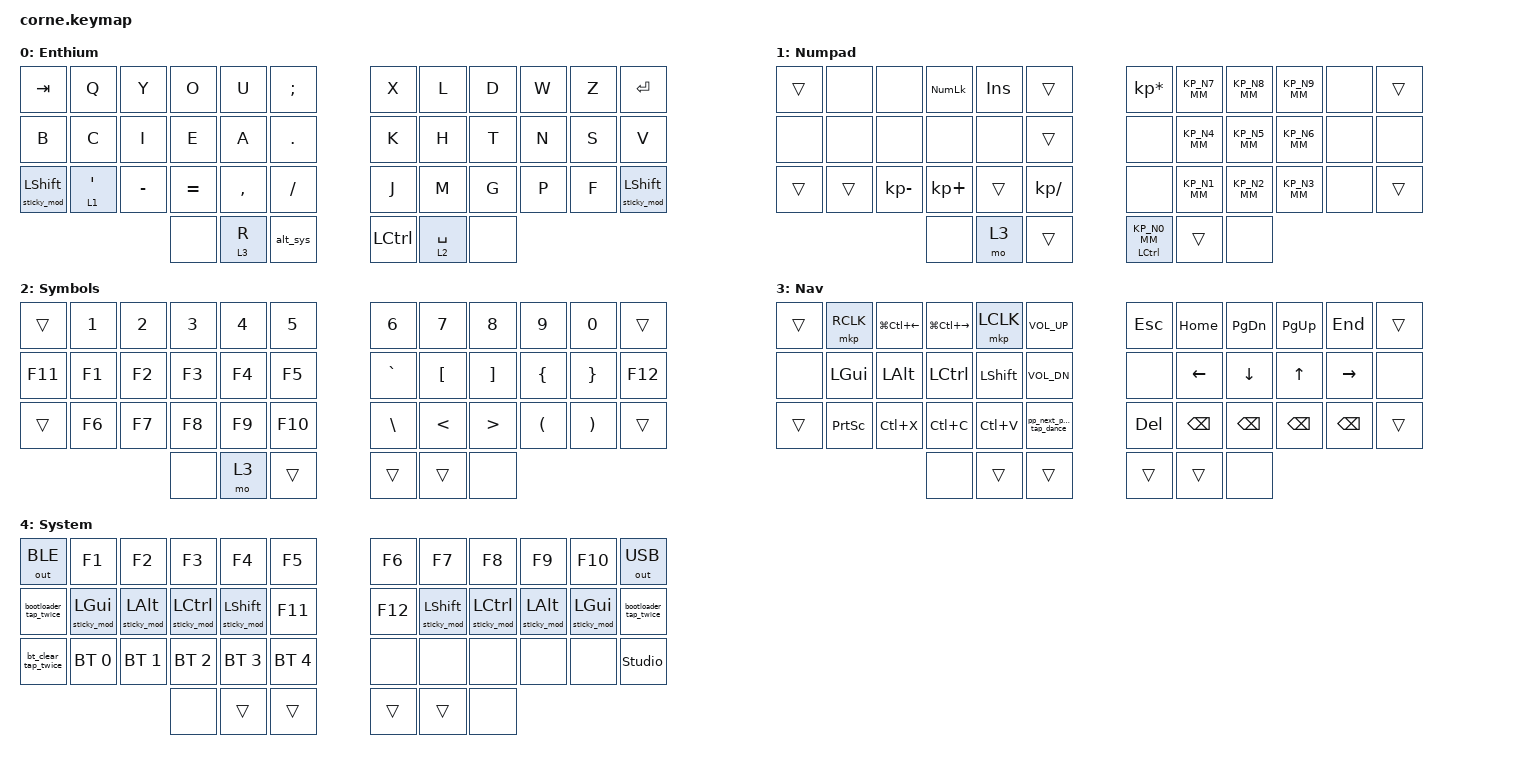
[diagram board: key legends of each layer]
#include <input/processors.dtsi>
#include <behaviors.dtsi>
#include <dt-bindings/zmk/bt.h>
#include <dt-bindings/zmk/keys.h>
#include <dt-bindings/zmk/outputs.h>
#include <dt-bindings/zmk/pointing.h>

#define DEF 0
#define NAV 1
#define SYM 2
#define ADJ 3
#define EXTRA 4
#define ZMK_POINTING_DEFAULT_SCRL_VAL 20    // default: 10

&mmv {
    acceleration-exponent = <0>;
    time-to-max-speed-ms = <0>;
    trigger-period-ms = <8>;
    delay-ms = <0>;
};

&msc {
    acceleration-exponent = <0>;
    time-to-max-speed-ms = <300>;
    trigger-period-ms = <8>;
    delay-ms = <0>;
};

&mmv_input_listener {
    warp {
        layers = <5>;
        input-processors = <&zip_xy_scaler 2 1>;
    };

    precision {
        layers = <6>;
        input-processors = <&zip_xy_scaler 1 3>;
    };
};

/ {
    behaviors {
        hm: homerow_mods {
            compatible = "zmk,behavior-hold-tap";
            label = "HOMEROW_MODS";
            #binding-cells = <2>;
            tapping-term-ms = <200>;
            quick_tap_ms = <0>;
            flavor = "tap-preferred";
            bindings = <&kp>, <&kp>;

            quick-tap-ms = <180>;
            global-quick-tap;
        };

        para: para {
            compatible = "zmk,behavior-tap-dance";
            label = "PARA";
            #binding-cells = <0>;
            bindings = <&kp LEFT_PARENTHESIS>, <&kp RIGHT_PARENTHESIS>;
        };

        caps: caps {
            compatible = "zmk,behavior-caps-word";
            label = "CAPS";
            #binding-cells = <0>;
            continue-list = <MINUS BACKSPACE UNDERSCORE PERIOD>;
        };

        paraless: paraless {
            compatible = "zmk,behavior-mod-morph";
            label = "PARALESS";
            bindings = <&kp LEFT_PARENTHESIS>, <&kp LESS_THAN>;

            #binding-cells = <0>;
            mods = <(MOD_LSFT)>;
        };

        paragreat: paragreat {
            compatible = "zmk,behavior-mod-morph";
            label = "PARAGREAT";
            bindings = <&kp RIGHT_PARENTHESIS>, <&kp GREATER_THAN>;

            #binding-cells = <0>;
            mods = <(MOD_LSFT)>;
        };

        sticky_mod: sticky_mod {
            compatible = "zmk,behavior-sticky-key";
            label = "STICKY_MOD";
            bindings = <&kp>;
            #binding-cells = <1>;
            release-after-ms = <1000>;
            quick-release;
            ignore-modifiers;
        };

        bootloader_tap_twice: bootloader_tap_twice {
            compatible = "zmk,behavior-tap-dance";
            label = "BOOTLOADER_TAP_TWICE";
            #binding-cells = <0>;
            bindings = <&none>, <&bootloader>;

            tapping-term-ms = <300>;
        };

        bt_clear_tap_twice: bt_clear_tap_twice {
            compatible = "zmk,behavior-tap-dance";
            label = "BT_CLEAR_TAP_TWICE";
            #binding-cells = <0>;
            bindings = <&none>, <&bt BT_CLR>;

            tapping-term-ms = <300>;
        };

        pp_next_prev_tap_dance: pp_next_prev_tap_dance {
            compatible = "zmk,behavior-tap-dance";
            label = "PP_NEXT_PREV_TAP_DANCE";
            #binding-cells = <0>;
            bindings = <&kp C_PLAY_PAUSE>, <&kp C_NEXT>, <&kp C_PREV>;

            tapping-term-ms = <300>;
        };

        Adj_Hold_Tap: Adj_Hold_Tap {
            compatible = "zmk,behavior-hold-tap";
            label = "ADJ_HOLD_TAP";
            bindings = <&mo>, <&kp>;

            #binding-cells = <2>;
            hold-trigger-key-positions = <31 32 33 34 25 26 27 28 29 17 5 39>;
            tapping-term-ms = <300>;
            flavor = "balanced";
        };

        Hold_Mo_Tap_Kp_HoldPref: Hold_Mo_Tap_Kp_HoldPref {
            compatible = "zmk,behavior-hold-tap";
            label = "HOLD_MO_TAP_KP_HOLDPREF";
            bindings = <&mo>, <&kp>;

            #binding-cells = <2>;
            tapping-term-ms = <300>;
            flavor = "hold-preferred";
        };

        Hold_Kp_Tap_Kp_Bal: Hold_Kp_Tap_Kp_Bal {
            compatible = "zmk,behavior-hold-tap";
            label = "HOLD_KP_TAP_KP_BAL";
            bindings = <&kp>, <&kp>;

            #binding-cells = <2>;
            tapping-term-ms = <300>;
            flavor = "balanced";
        };

        Hold_Mo_Tap_Kp_Bal: Hold_Mo_Tap_Kp_Bal {
            compatible = "zmk,behavior-hold-tap";
            label = "HOLD_MO_TAP_KP_BAL";
            bindings = <&mo>, <&kp>;

            #binding-cells = <2>;
            tapping-term-ms = <300>;
            flavor = "balanced";
        };

        Hold_Mo_Tap_Repeat_Bal: Hold_Mo_Tap_Repeat_Bal {
            compatible = "zmk,behavior-hold-tap";
            label = "HOLD_MO_TAP_REPEAT_BAL";
            bindings = <&mo>, <&key_repeat>;

            #binding-cells = <2>;
            tapping-term-ms = <300>;
            flavor = "balanced";
        };

        KP_N0_MM: KP_N0_MM {
            compatible = "zmk,behavior-mod-morph";
            label = "KP_N0_MM";
            bindings = <&kp KP_N0>, <&kp KP_N0>;

            #binding-cells = <0>;
            mods = <(MOD_LSFT|MOD_RSFT)>;
        };

        KP_N1_MM: KP_N1_MM {
            compatible = "zmk,behavior-mod-morph";
            label = "KP_N1_MM";
            bindings = <&kp KP_N1>, <&kp KP_N1>;

            #binding-cells = <0>;
            mods = <(MOD_LSFT|MOD_RSFT)>;
        };

        KP_N2_MM: KP_N2_MM {
            compatible = "zmk,behavior-mod-morph";
            label = "KP_N2_MM";
            bindings = <&kp KP_N2>, <&kp KP_N2>;

            #binding-cells = <0>;
            mods = <(MOD_LSFT|MOD_RSFT)>;
        };

        KP_N3_MM: KP_N3_MM {
            compatible = "zmk,behavior-mod-morph";
            label = "KP_N3_MM";
            bindings = <&kp KP_N3>, <&kp KP_N3>;

            #binding-cells = <0>;
            mods = <(MOD_LSFT|MOD_RSFT)>;
        };

        KP_N4_MM: KP_N4_MM {
            compatible = "zmk,behavior-mod-morph";
            label = "KP_N4_MM";
            bindings = <&kp KP_N4>, <&kp KP_N4>;

            #binding-cells = <0>;
            mods = <(MOD_LSFT|MOD_RSFT)>;
        };

        KP_N5_MM: KP_N5_MM {
            compatible = "zmk,behavior-mod-morph";
            label = "KP_N5_MM";
            bindings = <&kp KP_N5>, <&kp KP_N5>;

            #binding-cells = <0>;
            mods = <(MOD_LSFT|MOD_RSFT)>;
        };

        KP_N6_MM: KP_N6_MM {
            compatible = "zmk,behavior-mod-morph";
            label = "KP_N6_MM";
            bindings = <&kp KP_N6>, <&kp KP_N6>;

            #binding-cells = <0>;
            mods = <(MOD_LSFT|MOD_RSFT)>;
        };

        KP_N7_MM: KP_N7_MM {
            compatible = "zmk,behavior-mod-morph";
            label = "KP_N7_MM";
            bindings = <&kp KP_N7>, <&kp KP_N7>;

            #binding-cells = <0>;
            mods = <(MOD_LSFT|MOD_RSFT)>;
        };

        KP_N8_MM: KP_N8_MM {
            compatible = "zmk,behavior-mod-morph";
            label = "KP_N8_MM";
            bindings = <&kp KP_N8>, <&kp KP_N8>;

            #binding-cells = <0>;
            mods = <(MOD_LSFT|MOD_RSFT)>;
        };

        KP_N9_MM: KP_N9_MM {
            compatible = "zmk,behavior-mod-morph";
            label = "KP_N9_MM";
            bindings = <&kp KP_N9>, <&kp KP_N9>;

            #binding-cells = <0>;
            mods = <(MOD_LSFT|MOD_RSFT)>;
        };

        Hold_Kp_Tap_Kp_HoldPref: Hold_Kp_Tap_Kp_HoldPref {
            compatible = "zmk,behavior-hold-tap";
            label = "HOLD_KP_TAP_KP_HOLDPREF";
            bindings = <&kp>, <&kp>;

            #binding-cells = <2>;
            tapping-term-ms = <300>;
            flavor = "hold-preferred";
        };

        Hold_Kp_Tap_Capsword_HoldPref: Hold_Kp_Tap_Capsword_HoldPref {
            compatible = "zmk,behavior-hold-tap";
            label = "HOLD_KP_TAP_CAPSWORD_HOLDPREF";
            bindings = <&kp>, <&caps_word>;

            #binding-cells = <2>;
            tapping-term-ms = <300>;
            flavor = "hold-preferred";
        };

        Hold_Mo_Tap_StickyMod_Bal: Hold_Mo_Tap_StickyMod_Bal {
            compatible = "zmk,behavior-hold-tap";
            label = "HOLD_MO_TAP_STICKYMOD_BAL";
            bindings = <&mo>, <&sticky_mod>;

            #binding-cells = <2>;
            tapping-term-ms = <300>;
            flavor = "balanced";
        };

        mm7: mm7 {
            compatible = "zmk,behavior-mod-morph";
            label = "MM7";
            bindings = <&kp N7>, <&kp N7>;

            #binding-cells = <0>;
            mods = <(MOD_LSFT|MOD_RSFT)>;
        };

        mm8: mm8 {
            compatible = "zmk,behavior-mod-morph";
            label = "MM8";
            bindings = <&kp N8>, <&kp N8>;

            #binding-cells = <0>;
            mods = <(MOD_LSFT|MOD_RSFT)>;
        };

        mm9: mm9 {
            compatible = "zmk,behavior-mod-morph";
            label = "MM9";
            bindings = <&kp N9>, <&kp N9>;

            #binding-cells = <0>;
            mods = <(MOD_LSFT|MOD_RSFT)>;
        };

        mm0: mm0 {
            compatible = "zmk,behavior-mod-morph";
            label = "MM0";
            bindings = <&kp N0>, <&kp N0>;

            #binding-cells = <0>;
            mods = <(MOD_LSFT|MOD_RSFT)>;
        };

        mm1: mm1 {
            compatible = "zmk,behavior-mod-morph";
            label = "MM1";
            bindings = <&kp N1>, <&kp N1>;

            #binding-cells = <0>;
            mods = <(MOD_LSFT|MOD_RSFT)>;
        };

        mm2: mm2 {
            compatible = "zmk,behavior-mod-morph";
            label = "MM2";
            bindings = <&kp N2>, <&kp N2>;

            #binding-cells = <0>;
            mods = <(MOD_LSFT|MOD_RSFT)>;
        };

        mm3: mm3 {
            compatible = "zmk,behavior-mod-morph";
            label = "MM3";
            bindings = <&kp N3>, <&kp N3>;

            #binding-cells = <0>;
            mods = <(MOD_LSFT|MOD_RSFT)>;
        };

        mm4: mm4 {
            compatible = "zmk,behavior-mod-morph";
            label = "MM4";
            bindings = <&kp N4>, <&kp N4>;

            #binding-cells = <0>;
            mods = <(MOD_LSFT|MOD_RSFT)>;
        };

        mm5: mm5 {
            compatible = "zmk,behavior-mod-morph";
            label = "MM5";
            bindings = <&kp N5>, <&kp N5>;

            #binding-cells = <0>;
            mods = <(MOD_LSFT|MOD_RSFT)>;
        };

        mm6: mm6 {
            compatible = "zmk,behavior-mod-morph";
            label = "MM6";
            bindings = <&kp N6>, <&kp N6>;

            #binding-cells = <0>;
            mods = <(MOD_LSFT|MOD_RSFT)>;
        };

        mmdot: mmdot {
            compatible = "zmk,behavior-mod-morph";
            label = "MMDOT";
            bindings = <&kp PERIOD>, <&kp PERIOD>;

            #binding-cells = <0>;
            mods = <(MOD_LSFT|MOD_RSFT)>;
        };

        ctrl_numpad: ctrl_numpad {
            compatible = "zmk,behavior-tap-dance";
            label = "CTRL_NUMPAD";
            #binding-cells = <0>;
            bindings = <&kp LEFT_CONTROL>, <&mo 1>;

            tapping-term-ms = <300>;
        };

        alt_sys: alt_sys {
            compatible = "zmk,behavior-tap-dance";
            label = "ALT_SYS";
            #binding-cells = <0>;
            bindings = <&kp LEFT_ALT>, <&mo 4>;

            tapping-term-ms = <300>;
        };

        Hold_kp_tap_to_bal: Hold_kp_tap_to_bal {
            compatible = "zmk,behavior-hold-tap";
            label = "HOLD_KP_TAP_TO_BAL";
            bindings = <&kp>, <&to>;

            #binding-cells = <2>;
            tapping-term-ms = <300>;
            flavor = "balanced";
        };

        KP_N0_Hold_Kp: KP_N0_Hold_Kp {
            compatible = "zmk,behavior-hold-tap";
            label = "KP_N0_HOLD_KP";
            bindings = <&kp>, <&KP_N0_MM>;

            #binding-cells = <2>;
            tapping-term-ms = <300>;
            flavor = "balanced";
        };
    };

    macros {
        browsertab: browsertab {
            compatible = "zmk,behavior-macro";
            #binding-cells = <0>;
            bindings =
                <&macro_press>,
                <&kp LCTRL>,
                <&macro_tap>,
                <&kp TAB>,
                <&macro_release>,
                <&kp LCTRL>;
        };
    };

    combos {
        compatible = "zmk,combos";

        caps {
            bindings = <&kp CAPSLOCK>;
            key-positions = <12 23>;
        };
    };

    //

    keymap {
        compatible = "zmk,keymap";

        DEF {
            display-name = "Enthium";

            // -----------------------------------------------------------------------------------------
            // |  Q  |  W  |  E  |  R  |  T  |   |  Y  |  U   |  I  |  O  |  P  |
            // |  A  |  S  |  D  |  F  |  G  |   |  H  |  J   |  K  |  L  |  ;  |
            // |  Z  |  X  |  C  |  V  |  B  |   |  N  |  M   |  ,  |  .  |  /  |
            // | GUI | CTRL | SHFT | LWR | SPC |   | ENT | RSE  | BKSP | ALT | ESC |

            bindings = <
&kp TAB                 &kp Q                      &kp Y      &kp O      &kp U                    &kp SEMI    &kp X             &kp L                        &kp D  &kp W  &kp Z  &kp RET
&kp B                   &kp C                      &kp I      &kp E      &kp A                    &kp DOT     &kp K             &kp H                        &kp T  &kp N  &kp S  &kp V
&sticky_mod LEFT_SHIFT  &Hold_Mo_Tap_Kp_Bal 1 SQT  &kp MINUS  &kp EQUAL  &kp COMMA                &kp FSLH    &kp J             &kp M                        &kp G  &kp P  &kp F  &sticky_mod LEFT_SHIFT
                                                              &none      &Hold_Mo_Tap_Kp_Bal 3 R  &alt_sys    &kp LEFT_CONTROL  &Hold_Mo_Tap_Kp_Bal 2 SPACE  &none
            >;
        };

        NUM {
            display-name = "Numpad";
            bindings = <
&trans  &none   &none         &kp KP_NUMLOCK  &kp INS  &trans           &kp KP_ASTERISK                &KP_N7_MM  &KP_N8_MM  &KP_N9_MM  &none  &trans
&none   &none   &none         &none           &none    &trans           &none                          &KP_N4_MM  &KP_N5_MM  &KP_N6_MM  &none  &none
&trans  &trans  &kp KP_MINUS  &kp KP_PLUS     &trans   &kp KP_DIVIDE    &none                          &KP_N1_MM  &KP_N2_MM  &KP_N3_MM  &none  &trans
                              &none           &mo 3    &trans           &KP_N0_Hold_Kp LEFT_CONTROL 0  &trans     &none
            >;
        };

        SYM {
            display-name = "Symbols";

            // -----------------------------------------------------------------------------------------
            // |  TAB |  !  |  @  |  #  |  $  |  %  |   |  ^  |  &  |  *  |  (  |  )  | BKSP |
            // | CTRL |     |     |     |     |     |   |  -  |  =  |  [  |  ]  |  \  |  `   |
            // | SHFT |     |     |     |     |     |   |  _  |  +  |  {  |  }  | "|" |  ~   |
            //                    | GUI |     | SPC |   | ENT |     | ALT |

            bindings = <
&trans   &kp N1  &kp N2  &kp N3  &kp N4  &kp N5     &kp N6         &kp N7         &kp N8            &kp N9                &kp N0                 &trans
&kp F11  &kp F1  &kp F2  &kp F3  &kp F4  &kp F5     &kp GRAVE      &kp LBKT       &kp RBKT          &kp LEFT_BRACE        &kp RIGHT_BRACE        &kp F12
&trans   &kp F6  &kp F7  &kp F8  &kp F9  &kp F10    &kp BACKSLASH  &kp LESS_THAN  &kp GREATER_THAN  &kp LEFT_PARENTHESIS  &kp RIGHT_PARENTHESIS  &trans
                         &none   &mo 3   &trans     &trans         &trans         &none
            >;
        };

        NAV {
            display-name = "Nav";

            // -----------------------------------------------------------------------------------------
            // |  TAB |  1  |  2  |  3  |  4  |  5  |   |  6  |  7  |  8  |  9  |  0  | BKSP |
            // | BTCLR| BT1 | BT2 | BT3 | BT4 | BT5 |   | LFT | DWN |  UP | RGT |     |      |
            // | SHFT |     |     |     |     |     |   |     |     |     |     |     |      |
            // | GUI | CTRL | SHFT | LWR | SPC |   | ENT | RSE  | BKSP | ALT | ESC |

            bindings = <
&trans  &mkp RCLK        &kp LG(LC(LEFT))  &kp LG(LC(RIGHT))  &mkp LCLK       &kp C_VOL_UP               &kp ESCAPE  &kp HOME  &kp PG_DN  &kp PG_UP  &kp END    &trans
&none   &kp LGUI         &kp LALT          &kp LEFT_CONTROL   &kp LEFT_SHIFT  &kp C_VOL_DN               &none       &kp LEFT  &kp DOWN   &kp UP     &kp RIGHT  &none
&trans  &kp PRINTSCREEN  &kp LC(X)         &kp LC(C)          &kp LC(V)       &pp_next_prev_tap_dance    &kp DEL     &kp BSPC  &kp BSPC   &kp BSPC   &kp BSPC   &trans
                                           &none              &trans          &trans                     &trans      &trans    &none
            >;
        };

        SYS {
            display-name = "System";
            bindings = <
&out OUT_BLE           &kp F1            &kp F2            &kp F3                    &kp F4                  &kp F5          &kp F6   &kp F7                  &kp F8                    &kp F9            &kp F10           &out OUT_USB
&bootloader_tap_twice  &sticky_mod LGUI  &sticky_mod LALT  &sticky_mod LEFT_CONTROL  &sticky_mod LEFT_SHIFT  &kp F11         &kp F12  &sticky_mod LEFT_SHIFT  &sticky_mod LEFT_CONTROL  &sticky_mod LALT  &sticky_mod LGUI  &bootloader_tap_twice
&bt_clear_tap_twice    &bt BT_SEL 0      &bt BT_SEL 1      &bt BT_SEL 2              &bt BT_SEL 3            &bt BT_SEL 4    &none    &none                   &none                     &none             &none             &studio_unlock
                                                           &none                     &trans                  &trans          &trans   &trans                  &none
            >;
        };
    };

    conditional_layers { compatible = "zmk,conditional-layers"; };
};
